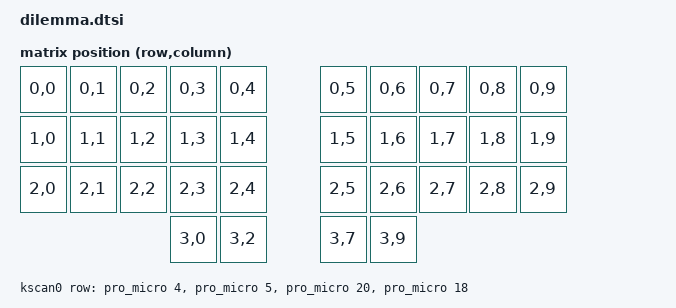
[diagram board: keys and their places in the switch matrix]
#include <dt-bindings/zmk/matrix_transform.h>

/ {
    chosen {
        zmk,kscan = &kscan0;
        zmk,matrix_transform = &default_transform;
    };

    default_transform: keymap_transform_0 {
        compatible = "zmk,matrix-transform";
        columns = <10>;
        rows = <4>;

        map = <
            RC(0,0) RC(0,1) RC(0,2) RC(0,3) RC(0,4)                 RC(0,5) RC(0,6) RC(0,7) RC(0,8) RC(0,9)
            RC(1,0) RC(1,1) RC(1,2) RC(1,3) RC(1,4)                 RC(1,5) RC(1,6) RC(1,7) RC(1,8) RC(1,9)
            RC(2,0) RC(2,1) RC(2,2) RC(2,3) RC(2,4)                 RC(2,5) RC(2,6) RC(2,7) RC(2,8) RC(2,9)
                                    RC(3,0) RC(3,2)                 RC(3,7) RC(3,9)
        >;
    };

    kscan0: kscan {
        compatible = "zmk,kscan-gpio-matrix";
        label = "KSCAN";

        diode-direction = "row2col";
        row-gpios
            = <&pro_micro 4 GPIO_ACTIVE_HIGH>
            , <&pro_micro 5 GPIO_ACTIVE_HIGH>
            , <&pro_micro 20 GPIO_ACTIVE_HIGH>
            , <&pro_micro 18 GPIO_ACTIVE_HIGH>
            ;

    };

    trackpad0: trackpad {
        compatible = "manufacturer,trackpad";
        label = "Trackpad0";
        status = "okay";

        /* Specify the I2C bus and address for the trackpad */
        i2c-bus = <&i2c0>;  // Replace with the correct I2C bus
        i2c-address = <0x12>;  // Replace with the correct I2C address
        gpio-sda = <&nice_nano_v2 2 GPIO_ACTIVE_HIGH>; // GPIO pin for SDA for Trackpad0
        gpio-scl = <&nice_nano_v2 3 GPIO_ACTIVE_HIGH>; // GPIO pin for SCL for Trackpad0
    };

    trackpad1: trackpad {
        compatible = "manufacturer,trackpad";
        label = "Trackpad1";
        status = "okay";

        /* Specify the I2C bus and address for the trackpad */
        i2c-bus = <&i2c1>;  // Replace with the correct I2C bus
        i2c-address = <0x13>;  // Replace with the correct I2C address
        gpio-sda = <&nice_nano_v2 2 GPIO_ACTIVE_HIGH>; // GPIO pin for SDA for Trackpad1
        gpio-scl = <&nice_nano_v2 3 GPIO_ACTIVE_HIGH>; // GPIO pin for SCL for Trackpad1
    };
};
